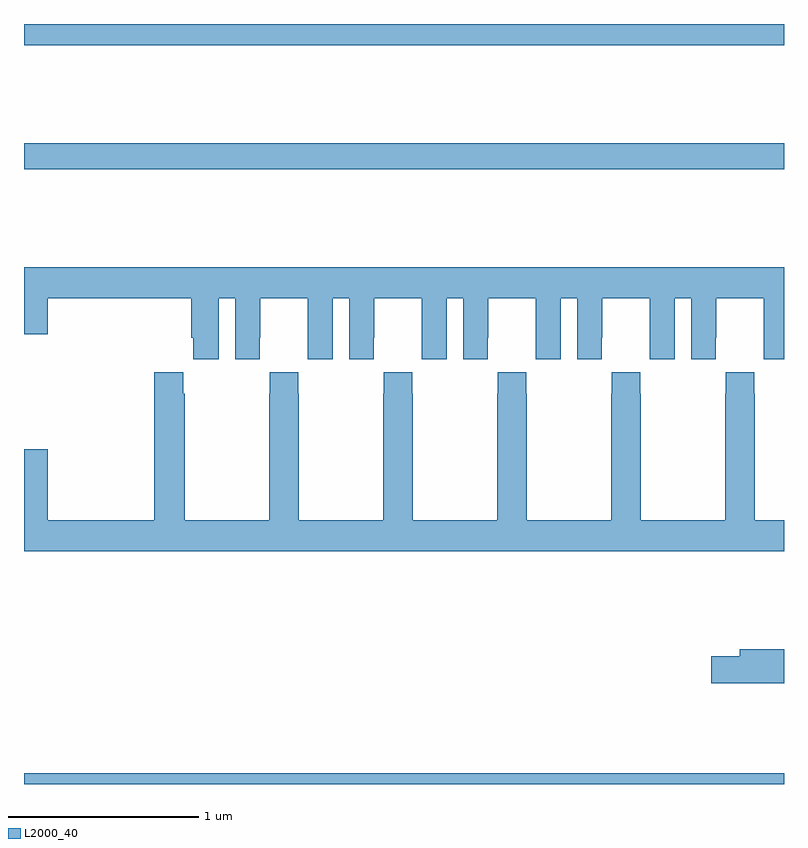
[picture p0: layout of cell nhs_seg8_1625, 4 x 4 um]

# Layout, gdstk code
import gdstk
lib = gdstk.Library(unit=1e-6, precision=1e-09)
def R(c, l, rs):  # rectangles x0, y0, x1, y1
    for r in rs: c.add(gdstk.rectangle(r[:2], r[2:], *l))
def P(c, l, *ps):  # polygons
    for p in ps: c.add(gdstk.Polygon(p, *l))
L2000_40 = (2000, 40)

nhs_seg8_1625 = lib.new_cell('nhs_seg8_1625')
R(nhs_seg8_1625, L2000_40, [(213,1157.9,217,1157.956), (213,1161.136,217,1161.272), (213,1161.788,217,1161.9)])
P(nhs_seg8_1625, L2000_40, [(213,1160.268),(213.124,1160.268),(213.124,1160.456),(213.881,1160.456),(213.881,1160.248),(213.89,1160.248),(213.89,1160.136),(214.024,1160.136),(214.024,1160.456),(214.112,1160.456),(214.112,1160.136),(214.242,1160.136),(214.242,1160.248),(214.243,1160.248),(214.243,1160.456),(214.493,1160.456),(214.493,1160.248),(214.494,1160.248),(214.494,1160.136),(214.624,1160.136),(214.624,1160.456),(214.712,1160.456),(214.712,1160.136),(214.842,1160.136),(214.842,1160.248),(214.843,1160.248),(214.843,1160.456),(215.093,1160.456),(215.093,1160.248),(215.094,1160.248),(215.094,1160.136),(215.224,1160.136),(215.224,1160.456),(215.312,1160.456),(215.312,1160.136),(215.442,1160.136),(215.442,1160.248),(215.443,1160.248),(215.443,1160.456),(215.693,1160.456),(215.693,1160.248),(215.694,1160.248),(215.694,1160.136),(215.824,1160.136),(215.824,1160.456),(215.912,1160.456),(215.912,1160.136),(216.042,1160.136),(216.042,1160.248),(216.043,1160.248),(216.043,1160.456),(216.293,1160.456),(216.293,1160.248),(216.294,1160.248),(216.294,1160.136),(216.424,1160.136),(216.424,1160.456),(216.512,1160.456),(216.512,1160.136),(216.642,1160.136),(216.642,1160.248),(216.643,1160.248),(216.643,1160.456),(216.893,1160.456),(216.893,1160.248),(216.894,1160.248),(216.894,1160.136),(217,1160.136),(217,1160.62),(213,1160.62)],
  [(215.043,1159.955),(215.043,1160.068),(214.893,1160.068),(214.893,1159.955),(214.891,1159.955),(214.891,1159.288),(214.446,1159.288),(214.446,1159.955),(214.443,1159.955),(214.443,1160.068),(214.293,1160.068),(214.293,1159.955),(214.291,1159.955),(214.291,1159.288),(213.846,1159.288),(213.846,1159.955),(213.839,1159.955),(213.839,1160.068),(213.686,1160.068),(213.686,1159.288),(213.124,1159.288),(213.124,1159.663),(213,1159.663),(213,1159.124),(217,1159.124),(217,1159.288),(216.846,1159.288),(216.846,1159.955),(216.843,1159.955),(216.843,1160.068),(216.693,1160.068),(216.693,1159.955),(216.691,1159.955),(216.691,1159.288),(216.246,1159.288),(216.246,1159.955),(216.243,1159.955),(216.243,1160.068),(216.093,1160.068),(216.093,1159.955),(216.091,1159.955),(216.091,1159.288),(215.646,1159.288),(215.646,1159.955),(215.643,1159.955),(215.643,1160.068),(215.493,1160.068),(215.493,1159.955),(215.491,1159.955),(215.491,1159.288),(215.046,1159.288),(215.046,1159.955)],
  [(217,1158.608),(216.767,1158.608),(216.767,1158.572),(216.618,1158.572),(216.618,1158.43),(217,1158.43)])

lib.write_gds('nhs_seg8_1625.gds')
